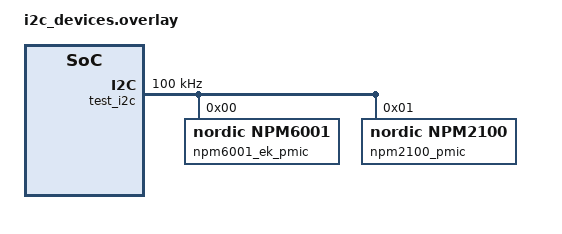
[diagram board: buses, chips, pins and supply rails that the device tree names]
/*
 * Copyright (c) 2024 TOKITA Hiroshi
 * SPDX-License-Identifier: Apache-2.0
 */

/ {
	test {
		#address-cells = <1>;
		#size-cells = <1>;

		test_gpio: gpio@deadbeef {
			compatible = "vnd,gpio";
			gpio-controller;
			reg = <0xdeadbeef 0x1000>;
			#gpio-cells = <0x2>;
			status = "okay";
		};

		test_i2c: i2c@11112222 {
			#address-cells = <1>;
			#size-cells = <0>;
			compatible = "vnd,i2c";
			reg = <0x11112222 0x1000>;
			status = "okay";
			clock-frequency = <100000>;

			npm6001_ek_pmic: pmic@0 {
				compatible = "nordic,npm6001";
				reg = <0x0>;

				npm6001_ek_wdt: watchdog {
					compatible = "nordic,npm6001-wdt";
				};
			};

			npm2100_pmic: pmic@1 {
				compatible = "nordic,npm2100";
				reg = <0x1>;

				npm2100_wdt: watchdog {
					compatible = "nordic,npm2100-wdt";
				};
			};
		};
	};
};
